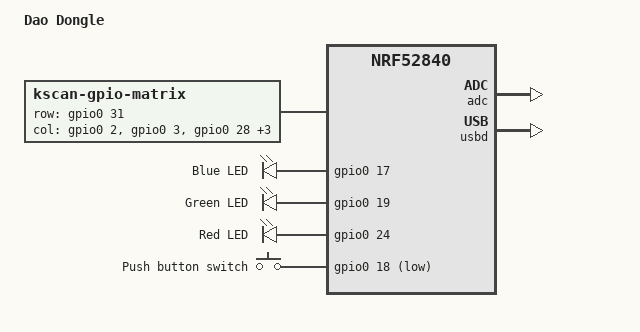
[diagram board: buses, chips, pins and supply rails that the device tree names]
/*
 * Copyright (c) 2021 Rafael Yumagulov
 *
 * SPDX-License-Identifier: MIT
 */

/dts-v1/;
#include <nordic/nrf52840_qiaa.dtsi>
#include <dt-bindings/zmk/matrix_transform.h>

/ {
    model = "Dao Dongle";
    compatible = "dao,dongle";

    chosen {
        zephyr,code-partition = &code_partition;
        zephyr,sram = &sram0;
        zephyr,flash = &flash0;
        zmk,kscan = &kscan0;
        zmk,matrix_transform = &default_transform;
    };

    default_transform: keymap_transform_0 {
        compatible = "zmk,matrix-transform";
        columns = <6>;
        rows = <1>;
        map = <
            RC(0,0) RC(0,1) RC(0,2) RC(0,3) RC(0,4) RC(0,5)
        >;
    };

    kscan0: kscan {
        compatible = "zmk,kscan-gpio-matrix";
        label = "KSCAN";

        wakeup-source;

        diode-direction = "col2row";
        row-gpios
            = <&gpio0 31 (GPIO_ACTIVE_HIGH | GPIO_PULL_DOWN)>
            ;
        col-gpios
            = <&gpio0 2 GPIO_ACTIVE_HIGH>
            , <&gpio0 3 GPIO_ACTIVE_HIGH>
            , <&gpio0 28 GPIO_ACTIVE_HIGH>
            , <&gpio0 29 GPIO_ACTIVE_HIGH>
            , <&gpio0 30 GPIO_ACTIVE_HIGH>
            , <&gpio0 31 GPIO_ACTIVE_HIGH>
            ;
    };

    leds {
        compatible = "gpio-leds";
        blue_led: led_0 {
            gpios = <&gpio0 17 GPIO_ACTIVE_HIGH>;
            label = "Blue LED";
        };
        green_led: led_1 {
            gpios = <&gpio0 19 GPIO_ACTIVE_HIGH>;
            label = "Green LED";
        };
        red_led: led_2 {
            gpios = <&gpio0 24 GPIO_ACTIVE_HIGH>;
            label = "Red LED";
        };
    };

    // USB dongle button
    buttons {
        compatible = "gpio-keys";
        button_0: button_0 {
            gpios = <&gpio0 18 (GPIO_ACTIVE_LOW | GPIO_PULL_UP)>;
            label = "Push button switch";
        };
    };
};

&adc {
    status = "okay";
};

&gpiote {
    status = "okay";
};

&gpio0 {
    status = "okay";
};

&gpio1 {
    status = "okay";
};

&usbd {
    status = "okay";
};

&flash0 {
    /*
     * For more information, see:
     * http://docs.zephyrproject.org/latest/devices/dts/flash_partitions.html
     */
    partitions {
        compatible = "fixed-partitions";
        #address-cells = <1>;
        #size-cells = <1>;

        sd_partition: partition@0 {
            label = "softdevice";
            reg = <0x00000000 0x00026000>;
        };
        code_partition: partition@26000 {
            label = "code_partition";
            reg = <0x00026000 0x000c6000>;
        };

        /*
         * The flash starting at 0x000ec000 and ending at
         * 0x000f3fff is reserved for use by the application.
         */

        /*
         * Storage partition will be used by FCB/LittleFS/NVS
         * if enabled.
         */
        storage_partition: partition@ec000 {
            label = "storage";
            reg = <0x000ec000 0x00008000>;
        };

        boot_partition: partition@f4000 {
            label = "adafruit_boot";
            reg = <0x000f4000 0x0000c000>;
        };
    };
};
